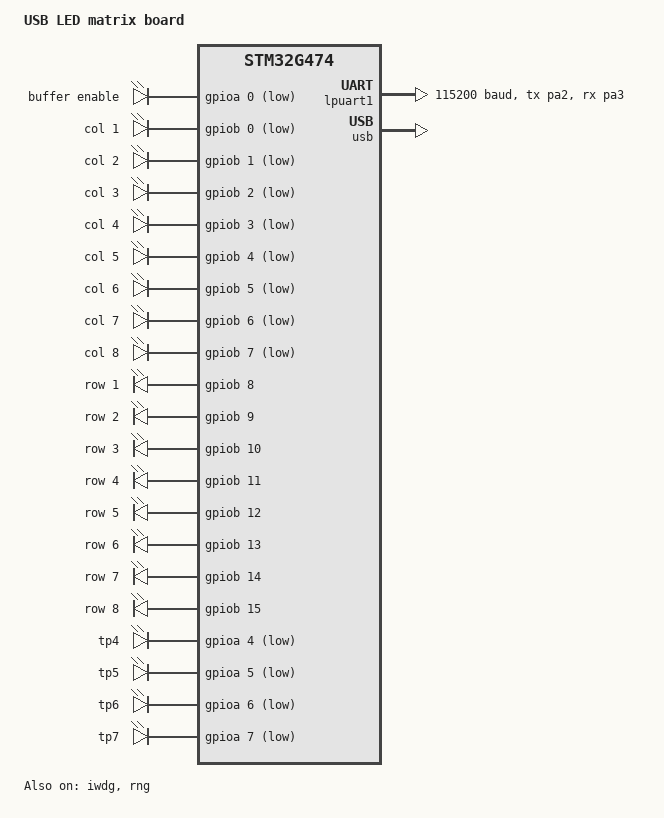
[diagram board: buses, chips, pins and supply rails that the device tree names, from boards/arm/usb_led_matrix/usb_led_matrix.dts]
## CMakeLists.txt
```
list(APPEND BOARD_ROOT ${CMAKE_CURRENT_SOURCE_DIR}/)
set(BOARD usb_led_matrix)

# Find Zephyr. This also loads Zephyr's build system.
cmake_minimum_required(VERSION 3.13.1)
find_package(Zephyr REQUIRED HINTS $ENV{ZEPHYR_BASE})
project(usb-led-matrix)

target_sources(app PRIVATE
    src/main.c
    src/led_matrix.c
    src/led_matrix.h
    src/usbdev.c
    src/usbdev.h
)

target_link_libraries(app PUBLIC -lm)
```

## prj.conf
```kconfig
CONFIG_USB=y
CONFIG_USB_DEVICE_STACK=y
CONFIG_USB_SELF_POWERED=n
CONFIG_USB_MAX_POWER=150
CONFIG_USB_DEVICE_HID=y
CONFIG_USB_DEVICE_MANUFACTURER="Elemental Instruments"
CONFIG_USB_DEVICE_PRODUCT="usb-led-matrix"

CONFIG_LOG=y
CONFIG_ASSERT=y
CONFIG_LOG_PROCESS_THREAD_SLEEP_MS=10
CONFIG_USB_DRIVER_LOG_LEVEL_INF=y
CONFIG_USB_DEVICE_LOG_LEVEL_INF=y
```

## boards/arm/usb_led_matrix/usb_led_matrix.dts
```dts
/*
 * Copyright (c) 2019 STMicroelectronics.
 *
 * SPDX-License-Identifier: Apache-2.0
 */

/dts-v1/;
#include <st/g4/stm32g474Xe.dtsi>
#include <st/g4/stm32g474r(b-c-e)tx-pinctrl.dtsi>

/ {
	model = "USB LED matrix board";
	compatible = "st,stm32g474";

	chosen {
		zephyr,console = &lpuart1;
		zephyr,shell-uart = &lpuart1;
		zephyr,sram = &sram0;
		zephyr,flash = &flash0;
	};

	matrix {
		compatible = "gpio-leds";
		buffer_en {
			label = "buffer enable";
			gpios = <&gpioa 0 GPIO_ACTIVE_LOW>;
		};
		col1 {
			label = "col 1";
			gpios = <&gpiob 0 GPIO_ACTIVE_LOW>;
		};
		col2 {
			label = "col 2";
			gpios = <&gpiob 1 GPIO_ACTIVE_LOW>;
		};
		col3 {
			label = "col 3";
			gpios = <&gpiob 2 GPIO_ACTIVE_LOW>;
		};
		col4 {
			label = "col 4";
			gpios = <&gpiob 3 GPIO_ACTIVE_LOW>;
		};
		col5 {
			label = "col 5";
			gpios = <&gpiob 4 GPIO_ACTIVE_LOW>;
		};
		col6 {
			label = "col 6";
			gpios = <&gpiob 5 GPIO_ACTIVE_LOW>;
		};
		col7 {
			label = "col 7";
			gpios = <&gpiob 6 GPIO_ACTIVE_LOW>;
		};
		col8 {
			label = "col 8";
			gpios = <&gpiob 7 GPIO_ACTIVE_LOW>;
		};
		row1 {
			label = "row 1";
			gpios = <&gpiob 8 GPIO_ACTIVE_HIGH>;
		};
		row2 {
			label = "row 2";
			gpios = <&gpiob 9 GPIO_ACTIVE_HIGH>;
		};
		row3 {
			label = "row 3";
			gpios = <&gpiob 10 GPIO_ACTIVE_HIGH>;
		};
		row4 {
			label = "row 4";
			gpios = <&gpiob 11 GPIO_ACTIVE_HIGH>;
		};
		row5 {
			label = "row 5";
			gpios = <&gpiob 12 GPIO_ACTIVE_HIGH>;
		};
		row6 {
			label = "row 6";
			gpios = <&gpiob 13 GPIO_ACTIVE_HIGH>;
		};
		row7 {
			label = "row 7";
			gpios = <&gpiob 14 GPIO_ACTIVE_HIGH>;
		};
		row8 {
			label = "row 8";
			gpios = <&gpiob 15 GPIO_ACTIVE_HIGH>;
		};
	};
	
	testpoints {
		compatible = "gpio-leds";
		tp4 {
			label = "tp4";
			gpios = <&gpioa 4 GPIO_ACTIVE_LOW>;
		};
		tp5 {
			label = "tp5";
			gpios = <&gpioa 5 GPIO_ACTIVE_LOW>;
		};
		tp6 {
			label = "tp6";
			gpios = <&gpioa 6 GPIO_ACTIVE_LOW>;
		};
		tp7 {
			label = "tp7";
			gpios = <&gpioa 7 GPIO_ACTIVE_LOW>;
		};
	};
};

&lpuart1 {
	pinctrl-0 = <&lpuart1_tx_pa2 &lpuart1_rx_pa3>;
	current-speed = <115200>;
	status = "okay";
};

&usb {
	status = "okay";
};

&flash0 {
	/*
	 * For more information, see:
	 * https://docs.zephyrproject.org/latest/guides/dts/legacy-macros.html#legacy-flash-partitions
	 */
	partitions {
		compatible = "fixed-partitions";
		#address-cells = <1>;
		#size-cells = <1>;

		/* Set 2Kb of storage at the end of the 128Kb of flash */
		storage_partition: partition@1f800 {
			label = "storage";
			reg = <0x0001f800 0x00000800>;
		};
	};
};

&iwdg {
	status = "okay";
};

&rng {
	status = "okay";
};
```

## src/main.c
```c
#include <zephyr.h>
#include <logging/log.h>

#include "led_matrix.h"
#include "usbdev.h"

#if CONFIG_SOC_STM32G474XX
#include <stm32g4xx_ll_crs.h>
#endif

LOG_MODULE_REGISTER(main);

/*
 * Enable clock recovery to make USB work with internal oscillator
 */
static void enable_crs()
{
#if CONFIG_CLOCK_STM32_PLL_SRC_HSI
    __HAL_RCC_CRS_CLK_ENABLE();
    LL_CRS_DeInit();
    LL_CRS_SetSyncDivider(LL_CRS_SYNC_DIV_1);
    LL_CRS_SetSyncPolarity(LL_CRS_SYNC_POLARITY_RISING);
    LL_CRS_SetSyncSignalSource(LL_CRS_SYNC_SOURCE_USB);
    LL_CRS_SetReloadCounter(__LL_CRS_CALC_CALCULATE_RELOADVALUE(48000000,1000));
    LL_CRS_SetFreqErrorLimit(LL_CRS_ERRORLIMIT_DEFAULT);
    LL_CRS_SetHSI48SmoothTrimming(LL_CRS_HSI48CALIBRATION_DEFAULT);
    LL_CRS_EnableAutoTrimming();
    LL_CRS_EnableFreqErrorCounter();
#endif
}

/*
 * Configure brown-out reset at a reasonable voltage level
 */
static void configure_bor()
{
#if CONFIG_SOC_STM32G474XX
    FLASH_OBProgramInitTypeDef ob = {};
    HAL_FLASHEx_OBGetConfig(&ob);

    if ((ob.USERConfig & FLASH_OPTR_BOR_LEV_Msk) != FLASH_OPTR_BOR_LEV_3) {
        LOG_INF("User option bytes: %08x", ob.USERConfig);
        static const FLASH_OBProgramInitTypeDef ob_write = {
            .OptionType = OPTIONBYTE_USER,
            .USERType = OB_USER_BOR_LEV,
            .USERConfig = OB_BOR_LEVEL_3,
        };
        if (HAL_FLASH_Unlock() != HAL_OK) {
            LOG_ERR("Failed to unlock flash");
        }
        if (HAL_FLASH_OB_Unlock() != HAL_OK) {
            LOG_ERR("Failed to unlock OB");
        }
        if (HAL_FLASHEx_OBProgram((FLASH_OBProgramInitTypeDef*)&ob_write) != HAL_OK) {
            LOG_ERR("Failed to program option bytes");
        }
        if (HAL_FLASH_OB_Lock() != HAL_OK) {
            LOG_ERR("Failed to lock OB");
        }
        if (HAL_FLASH_Lock() != HAL_OK) {
            LOG_ERR("Failed to lock flash");
        }
    }
#endif
}

void main(void)
{
#if CONFIG_SOC_STM32G474XX
    HAL_DBGMCU_EnableDBGSleepMode();
    HAL_DBGMCU_EnableDBGStopMode();
    HAL_DBGMCU_EnableDBGStandbyMode();
#endif

    led_matrix_init();
    enable_crs();
    configure_bor();
    usbdev_init();
    led_matrix_start();

    while (true) {
        k_sleep(K_FOREVER);
    }
}
```

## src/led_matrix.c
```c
#include <zephyr.h>
#include <drivers/gpio.h>
#include <logging/log.h>
#include <irq.h>
#include <soc.h>
#include <stdio.h>
#include <stdlib.h>
#include <math.h>
#include <stm32_ll_tim.h>

#include "led_matrix.h"

LOG_MODULE_REGISTER(led_matrix);

#define TIMER TIM1
#if CONFIG_SOC_SERIES_STM32G4X
#define IRQ_NUMBER TIM1_UP_TIM16_IRQn
#elif CONFIG_SOC_SERIES_STM32F4X
#define IRQ_NUMBER TIM1_UP_TIM10_IRQn
#endif

#define GPIO_PIN(dt_node, flags) { DT_GPIO_LABEL(dt_node, gpios), \
                                   DT_GPIO_PIN(dt_node, gpios), \
                                   (flags) | DT_GPIO_FLAGS(dt_node, gpios) }

struct pin_definition {
    const char *devname;
    gpio_pin_t pin;
    gpio_flags_t flags;
};

struct pin {
    const struct device *device;
    gpio_pin_t pin;
};

#define PIN_TP4 17

static const struct pin_definition pin_definitions[] = {
#if DT_NODE_HAS_STATUS(DT_PATH(matrix, buffer_en), okay)
    GPIO_PIN(DT_PATH(matrix, buffer_en), GPIO_OUTPUT_ACTIVE),
    GPIO_PIN(DT_PATH(matrix, row1), GPIO_OUTPUT_INACTIVE),
    GPIO_PIN(DT_PATH(matrix, row2), GPIO_OUTPUT_INACTIVE),
    GPIO_PIN(DT_PATH(matrix, row3), GPIO_OUTPUT_INACTIVE),
    GPIO_PIN(DT_PATH(matrix, row4), GPIO_OUTPUT_INACTIVE),
    GPIO_PIN(DT_PATH(matrix, row5), GPIO_OUTPUT_INACTIVE),
    GPIO_PIN(DT_PATH(matrix, row6), GPIO_OUTPUT_INACTIVE),
    GPIO_PIN(DT_PATH(matrix, row7), GPIO_OUTPUT_INACTIVE),
    GPIO_PIN(DT_PATH(matrix, row8), GPIO_OUTPUT_INACTIVE),
    GPIO_PIN(DT_PATH(matrix, col1), GPIO_OUTPUT_INACTIVE),
    GPIO_PIN(DT_PATH(matrix, col2), GPIO_OUTPUT_INACTIVE),
    GPIO_PIN(DT_PATH(matrix, col3), GPIO_OUTPUT_INACTIVE),
    GPIO_PIN(DT_PATH(matrix, col4), GPIO_OUTPUT_INACTIVE),
    GPIO_PIN(DT_PATH(matrix, col5), GPIO_OUTPUT_INACTIVE),
    GPIO_PIN(DT_PATH(matrix, col6), GPIO_OUTPUT_INACTIVE),
    GPIO_PIN(DT_PATH(matrix, col7), GPIO_OUTPUT_INACTIVE),
    GPIO_PIN(DT_PATH(matrix, col8), GPIO_OUTPUT_INACTIVE),
    [PIN_TP4] = GPIO_PIN(DT_PATH(testpoints, tp4), GPIO_OUTPUT_INACTIVE),
    GPIO_PIN(DT_PATH(testpoints, tp5), GPIO_INPUT),
    GPIO_PIN(DT_PATH(testpoints, tp6), GPIO_INPUT),
    GPIO_PIN(DT_PATH(testpoints, tp7), GPIO_INPUT),
#elif DT_NODE_HAS_STATUS(DT_ALIAS(led0), okay)
    GPIO_PIN(DT_ALIAS(led0), GPIO_OUTPUT_INACTIVE),
    GPIO_PIN(DT_ALIAS(led1), GPIO_OUTPUT_INACTIVE),
    GPIO_PIN(DT_ALIAS(led2), GPIO_OUTPUT_INACTIVE),
    GPIO_PIN(DT_ALIAS(led3), GPIO_OUTPUT_INACTIVE),
#else
#warning Building without LED matrix support
#endif
};

static struct pin pins[ARRAY_SIZE(pin_definitions)];
static uint8_t led_data[LED_COUNT];
static uint64_t last_usb_active;

static uint8_t get_led_state(int col, int row)
{
    return led_data[(row * 8) + (col % 8)];
}

#if CONFIG_SOC_FAMILY_STM32
static void timer_isr(const void *arg)
{
    gpio_pin_set(pins[PIN_TP4].device, pins[PIN_TP4].pin, true);
    LL_TIM_ClearFlag_UPDATE(TIMER);

    static uint8_t counter = 0;
    counter++;

    const uint8_t colno = counter % 8;
    const uint8_t pwm = (counter / 8) % 16;

    uint8_t row = 0;
    for (int rowno = 0; rowno < 8; rowno++) {
        const uint8_t intensity = get_led_state(colno, rowno);
        const bool on = intensity > pwm;
        row |= on ? (1 << rowno) : 0;
    }

    const uint8_t colbits = 1 << colno;
    gpio_port_set_masked(pins[1].device, 0xffff, (row << 8) | colbits);
    gpio_pin_set(pins[PIN_TP4].device, pins[PIN_TP4].pin, false);
}
#endif

void led_matrix_init(void)
{
    LOG_INF("Setting up LED matrix");
    for (int i = 0; i < ARRAY_SIZE(pin_definitions); i++) {
        pins[i].device = device_get_binding(pin_definitions[i].devname);
        pins[i].pin = pin_definitions[i].pin;
        if (!pins[i].device) {
            LOG_ERR("No device");
            return;
        }
        int rc = gpio_pin_configure(pins[i].device,
                                    pin_definitions[i].pin,
                                    pin_definitions[i].flags);
        if (rc) {
            LOG_ERR("Configure failed");
            return;
        }
    }

    led_data[0] = 1;

#if CONFIG_SOC_FAMILY_STM32
    IRQ_CONNECT(IRQ_NUMBER, 2, timer_isr, NULL, 0);
    irq_enable(IRQ_NUMBER);

    __HAL_RCC_TIM1_CLK_ENABLE();
    LL_TIM_InitTypeDef init;
    LL_TIM_StructInit(&init);
    init.Prescaler = 1;
    init.Autoreload = 256;
    LL_TIM_Init(TIMER, &init);
    LL_TIM_EnableIT_UPDATE(TIMER);
#endif
}

static void test_patterns()
{
    uint8_t data[LED_COUNT];

    // All on
    memset(data, 0xff, sizeof(data));
    led_matrix_set(data, LED_COUNT);
    k_sleep(K_MSEC(500));

    // Fade out
    for (int i = 8; i >= 0; i--) {
        memset(data, i, sizeof(data));
        led_matrix_set(data, LED_COUNT);
        k_sleep(K_MSEC(100));
    }

    // Rows
    for (int row = 0; row < 8; row++) {
        memset(data, 0x00, sizeof(data));
        for (int col = 0; col < 8; col++) {
            data[(row * 8) + (col % 8)] = 1;
        }
        led_matrix_set(data, LED_COUNT);
        k_sleep(K_MSEC(125));
    }

    // Columns
    for (int col = 0; col < 8; col++) {
        memset(data, 0x00, sizeof(data));
        for (int row = 0; row < 8; row++) {
            data[(row * 8) + (col % 8)] = 1;
        }
        led_matrix_set(data, LED_COUNT);
        k_sleep(K_MSEC(125));
    }

    // A cross
    for (int col = 0; col < 8; col++) {
        for (int row = 0; row < 8; row++) {
            data[(row * 8) + (col % 8)] = ((row - col) == 0) || ((row + col) == 7) ;
        }
    }
    led_matrix_set(data, LED_COUNT);
}

static uint8_t craprand(void)
{
    static unsigned v = 1;
    v = (1103515245 * v + 12345);
    return v >> 24;
}

static float absolute(float v)
{
    if (v < 0) return -v;
    return v;
}

#define KSZ 5
static float get(float frame[8][8], int x, int y)
{
    if (x < 0) return 0.0;
    if (y < 0) return 0.0;
    if (x >= 8) return 0.0;
    if (y >= 8) return 0.0;
    return frame[x][y];
}

static void step_animation(void)
{
    static float kernel[KSZ][KSZ] = {
        {    0, 0.01,    0,  0.00, 0.00 },
        {    0,-0.01,  0.1, -0.08,    0 },
        {    0, 0.09,  0.8,   0.1, 0.01 },
        {    0,-0.01,  0.1, -0.08,    0 },
        {    0, 0.01,    0,  0.00, 0.00 },
    };
    static float frame[8][8] = {{ 0 },
                                { 0 },
                                { 0 },
                                { 20.0, 0, 0, 0, 0 }};
    float next_frame[8][8];
    const float fudge = 0.998;

    for (int row = 0; row < 8; row++) {
        for (int col = 0; col < 8; col++) {
            float v = 0;
            for (int x = 0; x < KSZ; x++) {
                for (int y = 0; y < KSZ; y++) {
                    v += get(frame, col + x - KSZ/2, row + y - KSZ/2) * kernel[x][y];
                }
            }
            next_frame[col][row] = v * fudge;
        }
    }

    uint8_t buffer[LED_COUNT];
    float total = 0;
    for (int row = 0; row < 8; row++) {
        for (int col = 0; col < 8; col++) {
            buffer[(row * 8) + (col % 8)] = absolute(next_frame[col][row]);
            if (absolute(next_frame[col][row]) > 15) {
                next_frame[col][row] = 5;
            }
            frame[col][row] = next_frame[col][row];
            total += absolute(next_frame[col][row]);
        }
    }

    memcpy(led_data, buffer, sizeof(led_data));

    if (total < 70.0f) {
        int x = craprand() % 8;
        int y = craprand() % 8;
        frame[x][y] = 20.0;
        LOG_INF("Spawn at %d %d", x ,y);
    }
#if CONFIG_BOARD_NATIVE_POSIX
    printf("total=%.3f\n", total);
    for (int row = 0; row < 8; row++) {
        for (int col = 0; col < 8; col++) {
            const char c[9] = { ' ', '1', '2', '3', '4', '5', '6', '7', '@' };
            int v = get_led_state(row, col);
            if (v < 0) v = 0;
            if (v > 8) v = 8;
            printf("%c ", c[v]);
        }
        printf("\n");
    }
    printf("----------------\n");
#endif
}

void led_matrix_start(void)
{
#if CONFIG_SOC_FAMILY_STM32
    LL_TIM_EnableCounter(TIMER);
#endif

    test_patterns();
    while (true) {
        if (k_uptime_get() > last_usb_active + 2000) {
            step_animation();
        }
        k_sleep(K_MSEC(20));
    }
}

void led_matrix_set(const uint8_t *data, size_t len)
{
    memcpy(led_data, data, MIN(len, sizeof(led_data)));
    last_usb_active = k_uptime_get();
}
```

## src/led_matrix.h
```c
#pragma once

#define LED_COUNT 64

void led_matrix_init(void);
void led_matrix_start(void);
void led_matrix_set(const uint8_t *data, size_t len);
```

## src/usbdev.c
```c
#include <usb/usb_device.h>
#include <usb/class/usb_hid.h>
#include <logging/log.h>

#include "usbdev.h"
#include "led_matrix.h"

LOG_MODULE_REGISTER(usbdev);

// Vendor defined HID report
static const uint8_t hid_report_desc[] = {
	/* Usage page: vendor defined */
	HID_GLOBAL_ITEM(ITEM_TAG_USAGE_PAGE, 2), 0x00, 0xFF,

	/* Usage: vendor specific */
	HID_LI_USAGE, 0x01,
	/* Collection: Application Collection */
	HID_MI_COLLECTION, COLLECTION_APPLICATION,
	/* Logical Minimum: 0 */
	HID_GI_LOGICAL_MIN(1), 0x00,
	/* Logical Maximum: 255 */
	HID_GI_LOGICAL_MAX(1), 0xFF,
	/* Report Size: 8 bits */
	HID_GI_REPORT_SIZE, 0x08,
	/* Report Count (in bytes) */
	HID_GI_REPORT_COUNT, LED_COUNT,

	/* Report ID: 1 */
	HID_GI_REPORT_ID, 1,
	/* Vendor Usage 2 */
	HID_LI_USAGE, 0x02,
	/* Output: Data, Variable, Absolute & Buffered bytes*/
	HID_MI_OUTPUT, 0x86,

	/* End collection */
	HID_MI_COLLECTION_END,
};

static void status_cb(enum usb_dc_status_code status, const uint8_t *param)
{
    LOG_INF("USB status %d", status);
}

int set_report(const struct device *dev,
               struct usb_setup_packet *setup, int32_t *len,
               uint8_t **data)
{
    led_matrix_set(*data, *len);
    return 0;
}

void usbdev_init(void)
{
    const struct device *hid_dev = device_get_binding("HID_0");
    if (!hid_dev) {
        LOG_ERR("Cannot get USB HID Device");
        return;
    }
    LOG_INF("Opened HID device");

    static const struct hid_ops hid_ops = {
        .set_report = set_report,
    };

    usb_hid_register_device(hid_dev,
                            hid_report_desc,
                            sizeof(hid_report_desc),
                            &hid_ops);

    usb_hid_init(hid_dev);

    int ret = usb_enable(status_cb);
    if (ret) {
        LOG_ERR("Failed to enable USB");
        return;
    }
}
```

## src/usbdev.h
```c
#pragma once

void usbdev_init(void);
```
